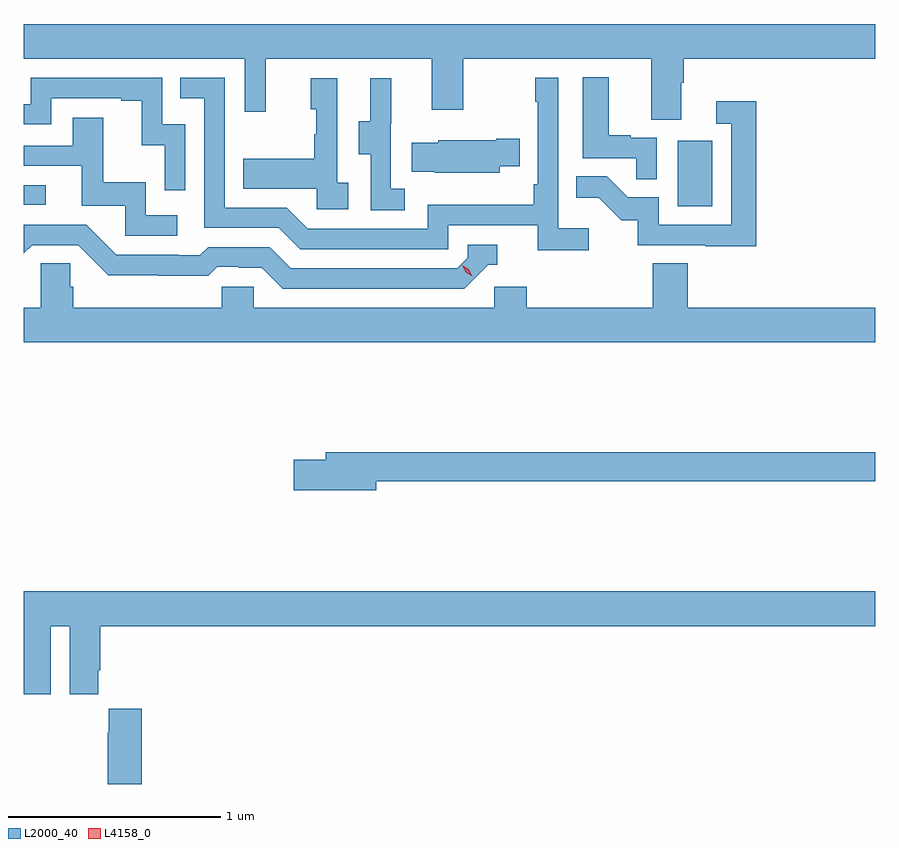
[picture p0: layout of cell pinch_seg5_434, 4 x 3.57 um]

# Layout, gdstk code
import gdstk
lib = gdstk.Library(unit=1e-6, precision=1e-09)
def R(c, l, rs):  # rectangles x0, y0, x1, y1
    for r in rs: c.add(gdstk.rectangle(r[:2], r[2:], *l))
def P(c, l, *ps):  # polygons
    for p in ps: c.add(gdstk.Polygon(p, *l))
L2000_40 = (2000, 40)
L4158_0 = (4158, 0)

pinch_seg5_434 = lib.new_cell('pinch_seg5_434')
R(pinch_seg5_434, L2000_40, [(917.72,866.724,917.884,867.031), (914.649,866.73,914.752,866.823)])
P(pinch_seg5_434, L2000_40, [(917.737,867.304),(917.75,867.304),(917.75,867.416),(918.649,867.416),(918.649,867.58),(914.649,867.58),(914.649,867.416),(915.687,867.416),(915.687,867.168),(915.785,867.168),(915.785,867.416),(916.565,867.416),(916.565,867.177),(916.713,867.177),(916.713,867.416),(917.597,867.416),(917.597,867.13),(917.737,867.13)],
  [(917.622,867.045),(917.501,867.045),(917.501,867.058),(917.398,867.058),(917.398,867.331),(917.276,867.331),(917.276,866.949),(917.527,866.949),(917.527,866.851),(917.622,866.851)],
  [(917.302,866.62),(917.16,866.62),(917.16,867.328),(917.052,867.328),(917.052,867.215),(917.064,867.215),(917.064,866.827),(917.044,866.827),(917.044,866.731),(916.548,866.731),(916.548,866.619),(915.984,866.619),(915.885,866.718),(915.594,866.718),(915.594,867.327),(915.385,867.327),(915.385,867.231),(915.498,867.231),(915.498,866.622),(915.848,866.622),(915.947,866.523),(916.644,866.523),(916.644,866.634),(917.063,866.634),(917.063,866.518),(917.302,866.518)],
  [(915.408,867.108),(915.3,867.108),(915.3,867.327),(914.682,867.327),(914.682,867.204),(914.649,867.204),(914.649,867.108),(914.778,867.108),(914.778,867.231),(915.107,867.231),(915.107,867.219),(915.203,867.219),(915.203,867.011),(915.312,867.011),(915.312,866.799),(915.408,866.799)],
  [(916.174,866.834),(916.122,866.834),(916.122,867.325),(915.998,867.325),(915.998,867.18),(916.024,867.18),(916.024,867.062),(916.014,867.062),(916.014,866.947),(915.679,866.947),(915.679,866.807),(916.026,866.807),(916.026,866.709),(916.174,866.709)],
  [(916.438,866.807),(916.374,866.807),(916.374,867.111),(916.376,867.111),(916.376,867.325),(916.277,867.325),(916.277,867.123),(916.223,867.123),(916.223,866.968),(916.278,866.968),(916.278,866.704),(916.438,866.704)],
  [(918.089,867.217),(917.901,867.217),(917.901,867.111),(917.973,867.111),(917.973,866.637),(917.631,866.637),(917.631,866.766),(917.486,866.766),(917.388,866.864),(917.245,866.864),(917.245,866.765),(917.349,866.765),(917.456,866.658),(917.533,866.658),(917.533,866.541),(917.851,866.541),(917.851,866.536),(918.089,866.536)],
  [(915.37,866.682),(915.222,866.682),(915.222,866.836),(915.023,866.836),(915.023,867.139),(914.879,867.139),(914.879,867.009),(914.649,867.009),(914.649,866.913),(914.921,866.913),(914.921,866.727),(915.126,866.727),(915.126,866.586),(915.37,866.586)],
  [(916.885,866.912),(916.979,866.912),(916.979,867.042),(916.868,867.042),(916.868,867.034),(916.596,867.034),(916.596,867.022),(916.471,867.022),(916.471,866.885),(916.579,866.885),(916.579,866.882),(916.885,866.882)],
  [(916.83,866.448),(916.873,866.448),(916.873,866.544),(916.734,866.544),(916.734,866.481),(916.686,866.433),(915.903,866.433),(915.804,866.532),(915.515,866.532),(915.476,866.493),(915.377,866.493),(915.377,866.496),(915.084,866.496),(914.943,866.637),(914.649,866.637),(914.649,866.502),(914.688,866.541),(914.904,866.541),(915.046,866.399),(915.282,866.399),(915.282,866.397),(915.515,866.397),(915.557,866.439),(915.66,866.439),(915.66,866.436),(915.767,866.436),(915.866,866.337),(916.719,866.337)],
  [(918.649,866.248),(917.768,866.248),(917.768,866.456),(917.603,866.456),(917.603,866.248),(917.012,866.248),(917.012,866.346),(916.86,866.346),(916.86,866.248),(915.729,866.248),(915.729,866.346),(915.579,866.346),(915.579,866.248),(914.882,866.248),(914.882,866.346),(914.867,866.346),(914.867,866.456),(914.73,866.456),(914.73,866.248),(914.649,866.248),(914.649,866.084),(918.649,866.084)],
  [(916.306,865.432),(918.649,865.432),(918.649,865.568),(916.067,865.568),(916.067,865.532),(915.918,865.532),(915.918,865.39),(916.306,865.39)],
  [(914.776,864.752),(914.864,864.752),(914.864,864.432),(914.998,864.432),(914.998,864.544),(915.008,864.544),(915.008,864.752),(918.649,864.752),(918.649,864.916),(914.649,864.916),(914.649,864.432),(914.776,864.432)],
  [(915.203,864.364),(915.049,864.364),(915.049,864.251),(915.043,864.251),(915.043,864.01),(915.203,864.01)])
P(pinch_seg5_434, L4158_0, [(916.756,866.394),(916.725,866.413),(916.709,866.446),(916.709,866.446),(916.709,866.446),(916.74,866.427),(916.757,866.395),(916.757,866.394)])

lib.write_gds('pinch_seg5_434.gds')
